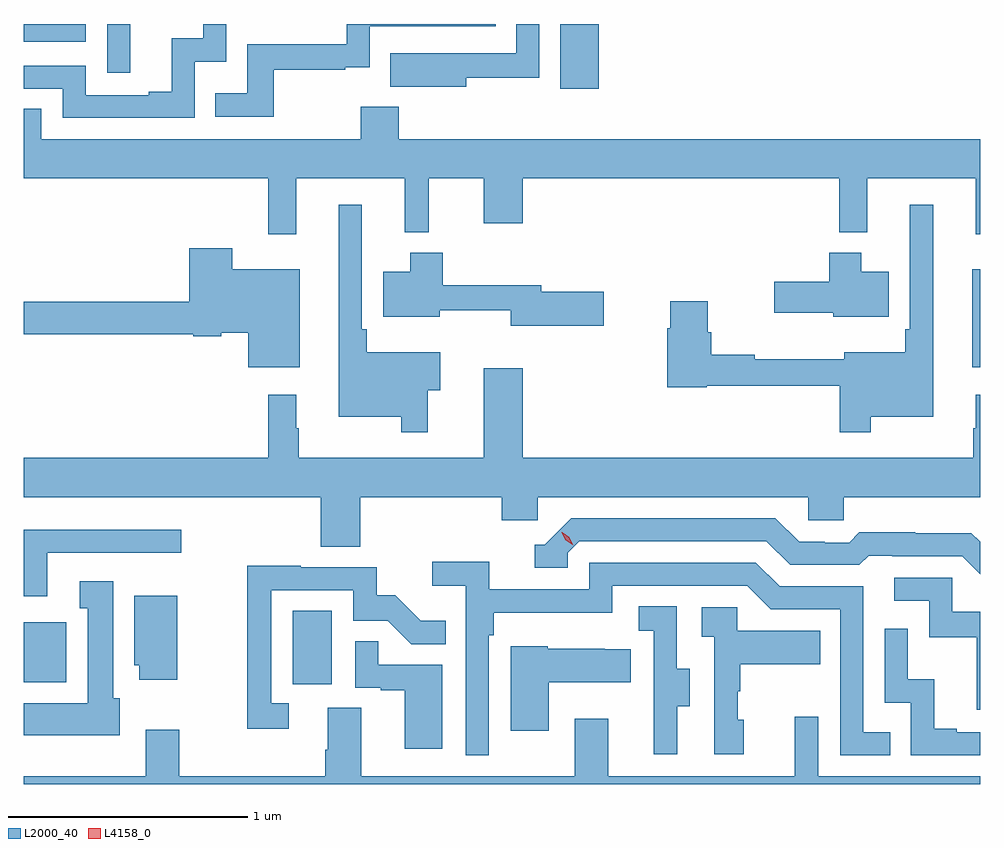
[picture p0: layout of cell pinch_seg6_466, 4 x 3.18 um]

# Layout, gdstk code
import gdstk
lib = gdstk.Library(unit=1e-6, precision=1e-09)
def R(c, l, rs):  # rectangles x0, y0, x1, y1
    for r in rs: c.add(gdstk.rectangle(r[:2], r[2:], *l))
def P(c, l, *ps):  # polygons
    for p in ps: c.add(gdstk.Polygon(p, *l))
L2000_40 = (2000, 40)
L4158_0 = (4158, 0)

pinch_seg6_466 = lib.new_cell('pinch_seg6_466')
R(pinch_seg6_466, L2000_40, [(859.514,915.918,859.678,916.225), (858.389,915.926,858.567,916.177), (862.355,917.243,862.389,917.653), (860.633,918.408,860.794,918.678), (858.738,918.474,858.835,918.678), (858.389,918.603,858.648,918.678)])
P(pinch_seg6_466, L2000_40, [(859.435,918.486),(859.733,918.486),(859.733,918.497),(859.836,918.497),(859.836,918.669),(860.362,918.669),(860.362,918.678),(859.74,918.678),(859.74,918.594),(859.324,918.594),(859.324,918.388),(859.189,918.388),(859.189,918.291),(859.435,918.291)],
  [(859.104,918.521),(859.236,918.521),(859.236,918.678),(859.14,918.678),(859.14,918.619),(859.007,918.619),(859.007,918.394),(858.911,918.394),(858.911,918.381),(858.648,918.381),(858.648,918.504),(858.389,918.504),(858.389,918.408),(858.552,918.408),(858.552,918.285),(859.104,918.285)],
  [(860.239,918.454),(860.544,918.454),(860.544,918.678),(860.448,918.678),(860.448,918.555),(860.135,918.555),(860.135,918.556),(859.921,918.556),(859.921,918.416),(860.239,918.416)],
  [(859.529,918.032),(859.982,918.032),(859.982,917.807),(860.082,917.807),(860.082,918.032),(860.312,918.032),(860.312,917.844),(860.476,917.844),(860.476,918.032),(861.799,918.032),(861.799,917.807),(861.917,917.807),(861.917,918.032),(862.37,918.032),(862.37,917.799),(862.389,917.799),(862.389,918.196),(859.958,918.196),(859.958,918.331),(859.798,918.331),(859.798,918.196),(858.462,918.196),(858.462,918.323),(858.389,918.323),(858.389,918.032),(859.411,918.032),(859.411,917.799),(859.529,917.799)],
  [(860.079,917.147),(860.131,917.147),(860.131,917.305),(859.823,917.305),(859.823,917.401),(859.803,917.401),(859.803,917.923),(859.706,917.923),(859.706,917.036),(859.968,917.036),(859.968,916.971),(860.079,916.971)],
  [(861.931,917.036),(862.192,917.036),(862.192,917.923),(862.095,917.923),(862.095,917.401),(862.075,917.401),(862.075,917.305),(861.821,917.305),(861.821,917.276),(861.446,917.276),(861.446,917.294),(861.263,917.294),(861.263,917.388),(861.25,917.388),(861.25,917.518),(861.092,917.518),(861.092,917.405),(861.08,917.405),(861.08,917.158),(861.246,917.158),(861.246,917.166),(861.802,917.166),(861.802,916.971),(861.931,916.971)],
  [(859.543,917.653),(859.26,917.653),(859.26,917.74),(859.082,917.74),(859.082,917.516),(858.389,917.516),(858.389,917.38),(859.098,917.38),(859.098,917.372),(859.215,917.372),(859.215,917.387),(859.328,917.387),(859.328,917.243),(859.543,917.243)],
  [(860.815,917.559),(860.554,917.559),(860.554,917.585),(860.141,917.585),(860.141,917.722),(860.006,917.722),(860.006,917.641),(859.892,917.641),(859.892,917.453),(860.128,917.453),(860.128,917.482),(860.426,917.482),(860.426,917.417),(860.815,917.417)],
  [(862.006,917.641),(861.892,917.641),(861.892,917.722),(861.758,917.722),(861.758,917.601),(861.528,917.601),(861.528,917.471),(861.774,917.471),(861.774,917.453),(862.006,917.453)],
  [(859.796,916.7),(860.387,916.7),(860.387,916.602),(860.538,916.602),(860.538,916.7),(861.669,916.7),(861.669,916.602),(861.819,916.602),(861.819,916.7),(862.389,916.7),(862.389,917.128),(862.37,917.128),(862.37,916.988),(862.359,916.988),(862.359,916.864),(860.476,916.864),(860.476,917.239),(860.312,917.239),(860.312,916.864),(859.54,916.864),(859.54,916.988),(859.528,916.988),(859.528,917.128),(859.411,917.128),(859.411,916.864),(858.389,916.864),(858.389,916.7),(859.631,916.7),(859.631,916.492),(859.796,916.492)],
  [(862.389,916.512),(862.352,916.549),(862.116,916.549),(862.116,916.552),(861.883,916.552),(861.841,916.509),(861.738,916.509),(861.738,916.512),(861.631,916.512),(861.532,916.611),(860.679,916.611),(860.568,916.5),(860.525,916.5),(860.525,916.404),(860.664,916.404),(860.664,916.467),(860.712,916.515),(861.495,916.515),(861.594,916.416),(861.883,916.416),(861.922,916.455),(862.021,916.455),(862.021,916.452),(862.314,916.452),(862.389,916.377)],
  [(858.487,916.467),(859.048,916.467),(859.048,916.564),(858.389,916.564),(858.389,916.286),(858.487,916.286)],
  [(860.334,916.121),(860.354,916.121),(860.354,916.217),(860.85,916.217),(860.85,916.329),(861.414,916.329),(861.513,916.23),(861.804,916.23),(861.804,915.621),(862.013,915.621),(862.013,915.717),(861.9,915.717),(861.9,916.326),(861.55,916.326),(861.451,916.425),(860.754,916.425),(860.754,916.314),(860.336,916.314),(860.336,916.43),(860.097,916.43),(860.097,916.328),(860.238,916.328),(860.238,915.621),(860.334,915.621)],
  [(859.498,915.837),(859.425,915.837),(859.425,916.311),(859.767,916.311),(859.767,916.182),(859.911,916.182),(860.009,916.084),(860.153,916.084),(860.153,916.183),(860.049,916.183),(859.942,916.29),(859.866,916.29),(859.866,916.407),(859.547,916.407),(859.547,916.412),(859.324,916.412),(859.324,915.732),(859.498,915.732)],
  [(862.389,916.221),(862.272,916.221),(862.272,916.362),(862.029,916.362),(862.029,916.266),(862.176,916.266),(862.176,916.113),(862.375,916.113),(862.375,915.81),(862.389,915.81)],
  [(858.79,915.858),(858.763,915.858),(858.763,916.348),(858.623,916.348),(858.623,916.235),(858.656,916.235),(858.656,915.838),(858.389,915.838),(858.389,915.704),(858.79,915.704)],
  [(859.03,916.288),(858.851,916.288),(858.851,915.996),(858.872,915.996),(858.872,915.936),(859.03,915.936)],
  [(861.121,915.826),(861.175,915.826),(861.175,915.981),(861.12,915.981),(861.12,916.244),(860.961,916.244),(860.961,916.141),(861.024,916.141),(861.024,915.837),(861.023,915.837),(861.023,915.624),(861.121,915.624)],
  [(861.4,915.768),(861.375,915.768),(861.375,915.887),(861.385,915.887),(861.385,916.001),(861.719,916.001),(861.719,916.141),(861.372,916.141),(861.372,916.239),(861.225,916.239),(861.225,916.115),(861.276,916.115),(861.276,915.624),(861.4,915.624)],
  [(862.389,915.717),(862.291,915.717),(862.291,915.73),(862.196,915.73),(862.196,915.938),(862.086,915.938),(862.086,916.15),(861.99,916.15),(861.99,915.84),(862.098,915.84),(862.098,915.621),(862.389,915.621)],
  [(860.14,915.999),(859.871,915.999),(859.871,916.097),(859.776,916.097),(859.776,915.903),(859.883,915.903),(859.883,915.891),(859.982,915.891),(859.982,915.648),(860.14,915.648)],
  [(860.584,915.926),(860.927,915.926),(860.927,916.063),(860.819,916.063),(860.819,916.066),(860.58,916.066),(860.58,916.075),(860.426,916.075),(860.426,915.723),(860.584,915.723)],
  [(862.389,915.532),(861.711,915.532),(861.711,915.781),(861.614,915.781),(861.614,915.532),(860.833,915.532),(860.833,915.772),(860.693,915.772),(860.693,915.532),(859.801,915.532),(859.801,915.818),(859.661,915.818),(859.661,915.644),(859.649,915.644),(859.649,915.532),(859.039,915.532),(859.039,915.727),(858.899,915.727),(858.899,915.532),(858.389,915.532),(858.389,915.5),(862.389,915.5)])
P(pinch_seg6_466, L4158_0, [(860.686,916.499),(860.655,916.519),(860.639,916.551),(860.639,916.552),(860.64,916.552),(860.67,916.532),(860.686,916.499),(860.686,916.499)])

lib.write_gds('pinch_seg6_466.gds')
